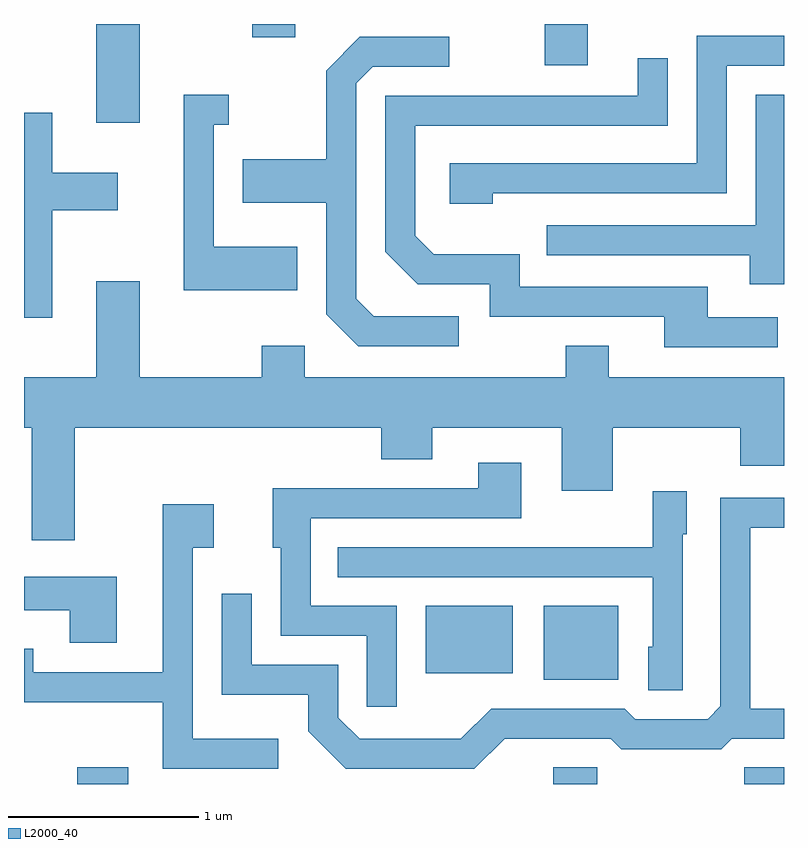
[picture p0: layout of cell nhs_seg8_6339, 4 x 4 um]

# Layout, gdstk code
import gdstk
lib = gdstk.Library(unit=1e-6, precision=1e-09)
def R(c, l, rs):  # rectangles x0, y0, x1, y1
    for r in rs: c.add(gdstk.rectangle(r[:2], r[2:], *l))
def P(c, l, *ps):  # polygons
    for p in ps: c.add(gdstk.Polygon(p, *l))
L2000_40 = (2000, 40)

nhs_seg8_6339 = lib.new_cell('nhs_seg8_6339')
R(nhs_seg8_6339, L2000_40, [(375.891,1812.342,376.159,1812.429), (378.396,1812.342,378.629,1812.429), (379.401,1812.342,379.611,1812.429), (378.346,1812.891,378.739,1813.279), (377.726,1812.926,378.184,1813.279), (375.991,1815.821,376.219,1816.342), (378.351,1816.126,378.579,1816.342), (376.811,1816.271,377.039,1816.342)])
P(nhs_seg8_6339, L2000_40, [(378.079,1815.451),(379.309,1815.451),(379.309,1816.121),(379.611,1816.121),(379.611,1816.279),(379.151,1816.279),(379.151,1815.609),(377.851,1815.609),(377.851,1815.396),(378.079,1815.396)],
  [(377.898,1814.804),(377.452,1814.804),(377.359,1814.897),(377.359,1816.029),(377.447,1816.116),(377.848,1816.116),(377.848,1816.274),(377.379,1816.274),(377.201,1816.097),(377.201,1815.629),(376.761,1815.629),(376.761,1815.401),(377.201,1815.401),(377.201,1814.814),(377.369,1814.646),(377.898,1814.646)],
  [(379.578,1814.799),(379.209,1814.799),(379.209,1814.959),(378.219,1814.959),(378.219,1815.129),(377.767,1815.129),(377.669,1815.227),(377.669,1815.806),(378.999,1815.806),(378.999,1816.163),(378.841,1816.163),(378.841,1815.964),(377.511,1815.964),(377.511,1815.144),(377.684,1814.971),(378.061,1814.971),(378.061,1814.801),(378.981,1814.801),(378.981,1814.641),(379.578,1814.641)],
  [(377.049,1815.169),(376.609,1815.169),(376.609,1815.811),(376.688,1815.811),(376.688,1815.969),(376.451,1815.969),(376.451,1814.941),(377.049,1814.941)],
  [(379.611,1815.969),(379.461,1815.969),(379.461,1815.284),(378.363,1815.284),(378.363,1815.126),(379.431,1815.126),(379.431,1814.971),(379.611,1814.971)],
  [(375.759,1815.361),(376.104,1815.361),(376.104,1815.559),(375.759,1815.559),(375.759,1815.874),(375.611,1815.874),(375.611,1814.796),(375.759,1814.796)],
  [(375.879,1814.216),(377.491,1814.216),(377.491,1814.051),(377.759,1814.051),(377.759,1814.216),(378.441,1814.216),(378.441,1813.886),(378.709,1813.886),(378.709,1814.216),(379.381,1814.216),(379.381,1814.016),(379.611,1814.016),(379.611,1814.484),(378.689,1814.484),(378.689,1814.649),(378.461,1814.649),(378.461,1814.484),(377.089,1814.484),(377.089,1814.649),(376.861,1814.649),(376.861,1814.484),(376.219,1814.484),(376.219,1814.989),(375.991,1814.989),(375.991,1814.484),(375.611,1814.484),(375.611,1814.216),(375.651,1814.216),(375.651,1813.626),(375.879,1813.626)],
  [(377.574,1813.279),(377.119,1813.279),(377.119,1813.741),(378.229,1813.741),(378.229,1814.034),(378.001,1814.034),(378.001,1813.899),(376.921,1813.899),(376.921,1813.586),(376.961,1813.586),(376.961,1813.121),(377.416,1813.121),(377.416,1812.748),(377.574,1812.748)],
  [(379.079,1813.656),(379.099,1813.656),(379.099,1813.884),(378.921,1813.884),(378.921,1813.589),(377.263,1813.589),(377.263,1813.431),(378.921,1813.431),(378.921,1813.064),(378.896,1813.064),(378.896,1812.836),(379.079,1812.836)],
  [(378.142,1812.581),(378.699,1812.581),(378.754,1812.526),(379.282,1812.526),(379.337,1812.581),(379.611,1812.581),(379.611,1812.739),(379.434,1812.739),(379.434,1813.691),(379.611,1813.691),(379.611,1813.849),(379.276,1813.849),(379.276,1812.752),(379.209,1812.684),(378.827,1812.684),(378.772,1812.739),(378.069,1812.739),(377.909,1812.579),(377.377,1812.579),(377.264,1812.692),(377.264,1812.969),(376.809,1812.969),(376.809,1813.343),(376.651,1813.343),(376.651,1812.811),(377.106,1812.811),(377.106,1812.619),(377.304,1812.421),(377.982,1812.421)],
  [(376.948,1812.579),(376.499,1812.579),(376.499,1813.586),(376.609,1813.586),(376.609,1813.814),(376.341,1813.814),(376.341,1812.929),(375.659,1812.929),(375.659,1813.054),(375.611,1813.054),(375.611,1812.771),(376.341,1812.771),(376.341,1812.421),(376.948,1812.421)],
  [(376.099,1813.434),(375.611,1813.434),(375.611,1813.256),(375.851,1813.256),(375.851,1813.086),(376.099,1813.086)])

lib.write_gds('nhs_seg8_6339.gds')
